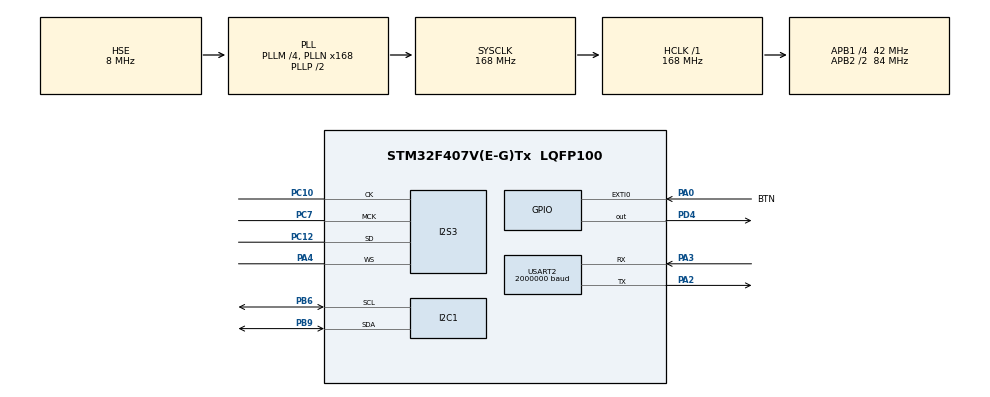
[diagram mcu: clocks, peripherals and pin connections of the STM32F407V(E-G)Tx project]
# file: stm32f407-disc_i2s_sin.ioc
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ARM.CMSIS.5.6.0.CMSISJjCORE=true
ARM.CMSIS.5.6.0.CMSISJjDSP=Library
Dma.Request0=SPI3_TX
Dma.SPI3_TX.0.Direction=DMA_MEMORY_TO_PERIPH
Dma.SPI3_TX.0.FIFOMode=DMA_FIFOMODE_DISABLE
Dma.SPI3_TX.0.Instance=DMA1_Stream5
Dma.SPI3_TX.0.MemDataAlignment=DMA_MDATAALIGN_BYTE
Dma.SPI3_TX.0.MemInc=DMA_MINC_ENABLE
Dma.SPI3_TX.0.Mode=DMA_CIRCULAR
Dma.SPI3_TX.0.PeriphDataAlignment=DMA_PDATAALIGN_BYTE
Dma.SPI3_TX.0.PeriphInc=DMA_PINC_DISABLE
Dma.SPI3_TX.0.Priority=DMA_PRIORITY_LOW
I2C1.I2C_Mode=I2C_Fast
I2S3.AudioFreq=I2S_AUDIOFREQ_96K
I2S3.ErrorAudioFreq=-2.34 %
I2S3.FullDuplexMode=I2S_FULLDUPLEXMODE_DISABLE
I2S3.Instance=SPI$Index
I2S3.RealAudioFreq=93.75 KHz
I2S3.VirtualMode=I2S_MODE_MASTER
Mcu.Family=STM32F4
Mcu.Name=STM32F407V(E-G)Tx
Mcu.Package=LQFP100
NVIC.DMA1_Stream5_IRQn=true\:0\:0\:false\:false\:true\:false\:true\:true
NVIC.PriorityGroup=NVIC_PRIORITYGROUP_4
NVIC.SPI3_IRQn=true\:0\:0\:false\:false\:true\:true\:true\:true
PA0-WKUP.GPIO_Label=BTN
PA0-WKUP.GPIO_ModeDefaultEXTI=GPIO_MODE_IT_RISING_FALLING
PA0-WKUP.Signal=GPXTI0
PA13.Mode=Trace_Asynchronous_SW
PA13.Signal=SYS_JTMS-SWDIO
PA14.Mode=Trace_Asynchronous_SW
PA14.Signal=SYS_JTCK-SWCLK
PA2.Mode=Asynchronous
PA2.Signal=USART2_TX
PA3.Mode=Asynchronous
PA3.Signal=USART2_RX
PA4.Mode=Half_Duplex_Master
PA4.Signal=I2S3_WS
PB3.Mode=Trace_Asynchronous_SW
PB3.Signal=SYS_JTDO-SWO
PB6.GPIO_Pu=GPIO_PULLUP
PB6.Mode=I2C
PB6.Signal=I2C1_SCL
PB9.GPIO_Pu=GPIO_PULLUP
PB9.Mode=I2C
PB9.Signal=I2C1_SDA
PC10.Mode=Half_Duplex_Master
PC10.Signal=I2S3_CK
PC12.Mode=Half_Duplex_Master
PC12.Signal=I2S3_SD
PC7.Mode=Master_Clock_Activated
PC7.Signal=I2S3_MCK
PD4.PinState=GPIO_PIN_SET
PD4.Signal=GPIO_Output
PH0-OSC_IN.Mode=HSE-External-Oscillator
PH0-OSC_IN.Signal=RCC_OSC_IN
PH1-OSC_OUT.Mode=HSE-External-Oscillator
PH1-OSC_OUT.Signal=RCC_OSC_OUT
ProjectManager.HeapSize=0x200
ProjectManager.StackSize=0x400
ProjectManager.TargetToolchain=STM32CubeIDE
RCC.48MHZClocksFreq_Value=84000000
RCC.AHBFreq_Value=168000000
RCC.APB1CLKDivider=RCC_HCLK_DIV4
RCC.APB1Freq_Value=42000000
RCC.APB1TimFreq_Value=84000000
RCC.APB2CLKDivider=RCC_HCLK_DIV2
RCC.APB2Freq_Value=84000000
RCC.APB2TimFreq_Value=168000000
RCC.CortexFreq_Value=168000000
RCC.HCLKFreq_Value=168000000
RCC.HSE_VALUE=8000000
RCC.HSI_VALUE=16000000
RCC.LSE_VALUE=32768
RCC.PLLM=4
RCC.PLLN=168
RCC.PLLSourceVirtual=RCC_PLLSOURCE_HSE
RCC.SYSCLKFreq_VALUE=168000000
RCC.SYSCLKSource=RCC_SYSCLKSOURCE_PLLCLK
RCC.VCOOutputFreq_Value=336000000
USART2.BaudRate=2000000
USART2.OverSampling=UART_OVERSAMPLING_8
USART2.VirtualMode=VM_ASYNC
VP_ARM.CMSIS_VS_CMSISJjCORE_5.3.0_5.6.0.Mode=CMSISJjCORE
VP_ARM.CMSIS_VS_CMSISJjDSP_1.7.0_5.6.0.Mode=CMSISJjDSP
board=custom

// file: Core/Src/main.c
/* USER CODE BEGIN Header */
/**
 ******************************************************************************
 * @file           : main.c
 * @brief          : Main program body
 ******************************************************************************
 * @attention
 *
 * Copyright (c) 2025 Lars Boegild Thomsen <lth@stm32world.com>
 * All rights reserved.
 *
 * This software is licensed under terms that can be found in the LICENSE file
 * in the root directory of this software component.
 * If no LICENSE file comes with this software, it is provided AS-IS.
 *
 ******************************************************************************
 */
/* USER CODE END Header */
#include "main.h"

/* USER CODE BEGIN Includes */
#include <stdio.h>
#include <math.h>
#include "arm_math.h"
/* USER CODE END Includes */

/* USER CODE BEGIN PD */

#define TAU 6.28318530717958647692
#define I2S_DMA_BUFFER_SAMPLES 960
#define I2S_DMA_BUFFER_SIZE 2 * 2 * I2S_DMA_BUFFER_SAMPLES // 2 full buffers L+R samples
#define SAMPLE_FREQ 96000
#define OUTPUT_MID 32768

/* USER CODE END PD */

I2C_HandleTypeDef hi2c1;

I2S_HandleTypeDef hi2s3;
DMA_HandleTypeDef hdma_spi3_tx;

UART_HandleTypeDef huart2;

/* USER CODE BEGIN PV */

const float two_pi = 2 * M_PI;

int16_t i2s_dma_buffer[I2S_DMA_BUFFER_SIZE];

//const float two_pi = 2 * M_PI;
float angle[2] = {
        0,
        0
};

float angle_change[2] = {
        100.0 * (TAU / SAMPLE_FREQ), // left
        50.0 * (TAU / SAMPLE_FREQ)  // right
};

float amplification[2] = {
        0.1,
        0.4
};

uint8_t dma_buffer_processing = 0;
uint32_t dma_overflow = 0;

uint32_t i2c_cb, i2c_hcb;

/* USER CODE END PV */

void SystemClock_Config(void);
static void MX_GPIO_Init(void);
static void MX_DMA_Init(void);
static void MX_USART2_UART_Init(void);
static void MX_I2S3_Init(void);
static void MX_I2C1_Init(void);

/* USER CODE BEGIN 0 */

// Send printf to uart1
int _write(int fd, char *ptr, int len) {
    HAL_StatusTypeDef hstatus;

    if (fd == 1 || fd == 2) {
        hstatus = HAL_UART_Transmit(&huart2, (uint8_t*) ptr, len, HAL_MAX_DELAY);
        if (hstatus == HAL_OK)
            return len;
        else
            return -1;
    }
    return -1;
}

//inline void HAL_TIM_PeriodElapsedCallback(TIM_HandleTypeDef *htim) {
//
//    if (htim->Instance == htim6.Instance) {
//        ++cb_cnt;
//    }
//
//}

void process_buffer(int16_t *buffer) {

    dma_buffer_processing = 1;

    for (int i = 0; i < 2 * I2S_DMA_BUFFER_SAMPLES; i += 2) { // Two samples left/right per step
        buffer[i] = OUTPUT_MID * amplification[0] * arm_cos_f32(angle[0]);      // Left
        buffer[i + 1] = OUTPUT_MID * amplification[1] * arm_cos_f32(angle[1]);  // Right
        angle[0] += angle_change[0];
        angle[1] += angle_change[1];
        if (angle[0] > TAU)
            angle[0] -= TAU;
        if (angle[1] > TAU)
            angle[1] -= TAU;
    }

    dma_buffer_processing = 0;

}

void HAL_I2S_TxCpltCallback(I2S_HandleTypeDef *hi2s) {
    if (dma_buffer_processing) {
        ++dma_overflow; // Still processing previous buffer
    } else {
        process_buffer(&i2s_dma_buffer[2 * I2S_DMA_BUFFER_SAMPLES]); // Second half
        ++i2c_cb;
    }
}

void HAL_I2S_TxHalfCpltCallback(I2S_HandleTypeDef *hi2s) {
    if (dma_buffer_processing) {
        ++dma_overflow; // Still processing previous buffer
    } else {
        process_buffer(&i2s_dma_buffer[0]);
        ++i2c_hcb;
    }

}

/* USER CODE END 0 */

int main(void)
{

    /* MCU Configuration--------------------------------------------------------*/

    /* Reset of all peripherals, Initializes the Flash interface and the Systick. */
    HAL_Init();

    /* Configure the system clock */
    SystemClock_Config();

    /* Initialize all configured peripherals */
    MX_GPIO_Init();
    MX_DMA_Init();
    MX_USART2_UART_Init();
    MX_I2S3_Init();
    MX_I2C1_Init();
    /* USER CODE BEGIN 2 */

    printf("\n\n\n--------\nStarting\n");

    // Go through all possible i2c addresses
    for (uint8_t i = 0; i < 128; i++) {

        if (HAL_I2C_IsDeviceReady(&hi2c1, (uint16_t) (i << 1), 3, 5) == HAL_OK) {
            // We got an ack
            printf("%2x ", i);
        } else {
            printf("-- ");
        }

        if (i > 0 && (i + 1) % 16 == 0)
            printf("\n");

    }

    printf("\n");

    HAL_I2S_Transmit_DMA(&hi2s3, (uint16_t*) &i2s_dma_buffer, 2 * I2S_DMA_BUFFER_SAMPLES);

    /* USER CODE END 2 */

    /* Infinite loop */
    /* USER CODE BEGIN WHILE */

    uint32_t loop = 0;
    uint32_t now = 0;
    uint32_t next_tick = 1000;

    while (1) {

        now = uwTick;

        if (now >= next_tick) {
            printf("Tick %lu (l=%lu ch=%lu cf=%lu)\n", now / 1000, loop, i2c_hcb, i2c_cb);
            loop = 0;
            next_tick = now + 1000;
        }

        ++loop;

        /* USER CODE END WHILE */

    }
}

void SystemClock_Config(void)
{
    RCC_OscInitTypeDef RCC_OscInitStruct = { 0 };
    RCC_ClkInitTypeDef RCC_ClkInitStruct = { 0 };

    /** Configure the main internal regulator output voltage
     */
    __HAL_RCC_PWR_CLK_ENABLE();
    __HAL_PWR_VOLTAGESCALING_CONFIG(PWR_REGULATOR_VOLTAGE_SCALE1);

    /** Initializes the RCC Oscillators according to the specified parameters
     * in the RCC_OscInitTypeDef structure.
     */
    RCC_OscInitStruct.OscillatorType = RCC_OSCILLATORTYPE_HSE;
    RCC_OscInitStruct.HSEState = RCC_HSE_ON;
    RCC_OscInitStruct.PLL.PLLState = RCC_PLL_ON;
    RCC_OscInitStruct.PLL.PLLSource = RCC_PLLSOURCE_HSE;
    RCC_OscInitStruct.PLL.PLLM = 4;
    RCC_OscInitStruct.PLL.PLLN = 168;
    RCC_OscInitStruct.PLL.PLLP = RCC_PLLP_DIV2;
    RCC_OscInitStruct.PLL.PLLQ = 4;
    if (HAL_RCC_OscConfig(&RCC_OscInitStruct) != HAL_OK)
            {
        Error_Handler();
    }

    /** Initializes the CPU, AHB and APB buses clocks
     */
    RCC_ClkInitStruct.ClockType = RCC_CLOCKTYPE_HCLK | RCC_CLOCKTYPE_SYSCLK
            | RCC_CLOCKTYPE_PCLK1 | RCC_CLOCKTYPE_PCLK2;
    RCC_ClkInitStruct.SYSCLKSource = RCC_SYSCLKSOURCE_PLLCLK;
    RCC_ClkInitStruct.AHBCLKDivider = RCC_SYSCLK_DIV1;
    RCC_ClkInitStruct.APB1CLKDivider = RCC_HCLK_DIV4;
    RCC_ClkInitStruct.APB2CLKDivider = RCC_HCLK_DIV2;

    if (HAL_RCC_ClockConfig(&RCC_ClkInitStruct, FLASH_LATENCY_5) != HAL_OK)
            {
        Error_Handler();
    }
}

static void MX_I2C1_Init(void)
{

    hi2c1.Instance = I2C1;
    hi2c1.Init.ClockSpeed = 400000;
    hi2c1.Init.DutyCycle = I2C_DUTYCYCLE_2;
    hi2c1.Init.OwnAddress1 = 0;
    hi2c1.Init.AddressingMode = I2C_ADDRESSINGMODE_7BIT;
    hi2c1.Init.DualAddressMode = I2C_DUALADDRESS_DISABLE;
    hi2c1.Init.OwnAddress2 = 0;
    hi2c1.Init.GeneralCallMode = I2C_GENERALCALL_DISABLE;
    hi2c1.Init.NoStretchMode = I2C_NOSTRETCH_DISABLE;
    if (HAL_I2C_Init(&hi2c1) != HAL_OK)
            {
        Error_Handler();
    }

}

static void MX_I2S3_Init(void)
{

    hi2s3.Instance = SPI3;
    hi2s3.Init.Mode = I2S_MODE_MASTER_TX;
    hi2s3.Init.Standard = I2S_STANDARD_PHILIPS;
    hi2s3.Init.DataFormat = I2S_DATAFORMAT_16B;
    hi2s3.Init.MCLKOutput = I2S_MCLKOUTPUT_ENABLE;
    hi2s3.Init.AudioFreq = I2S_AUDIOFREQ_96K;
    hi2s3.Init.CPOL = I2S_CPOL_LOW;
    hi2s3.Init.ClockSource = I2S_CLOCK_PLL;
    hi2s3.Init.FullDuplexMode = I2S_FULLDUPLEXMODE_DISABLE;
    if (HAL_I2S_Init(&hi2s3) != HAL_OK)
            {
        Error_Handler();
    }

}

static void MX_USART2_UART_Init(void)
{

    huart2.Instance = USART2;
    huart2.Init.BaudRate = 2000000;
    huart2.Init.WordLength = UART_WORDLENGTH_8B;
    huart2.Init.StopBits = UART_STOPBITS_1;
    huart2.Init.Parity = UART_PARITY_NONE;
    huart2.Init.Mode = UART_MODE_TX_RX;
    huart2.Init.HwFlowCtl = UART_HWCONTROL_NONE;
    huart2.Init.OverSampling = UART_OVERSAMPLING_8;
    if (HAL_UART_Init(&huart2) != HAL_OK)
            {
        Error_Handler();
    }

}

static void MX_DMA_Init(void)
{

    /* DMA controller clock enable */
    __HAL_RCC_DMA1_CLK_ENABLE();

    /* DMA interrupt init */
    /* DMA1_Stream5_IRQn interrupt configuration */
    HAL_NVIC_SetPriority(DMA1_Stream5_IRQn, 0, 0);
    HAL_NVIC_EnableIRQ(DMA1_Stream5_IRQn);

}

static void MX_GPIO_Init(void)
{
    GPIO_InitTypeDef GPIO_InitStruct = { 0 };

    /* GPIO Ports Clock Enable */
    __HAL_RCC_GPIOH_CLK_ENABLE();
    __HAL_RCC_GPIOA_CLK_ENABLE();
    __HAL_RCC_GPIOC_CLK_ENABLE();
    __HAL_RCC_GPIOD_CLK_ENABLE();
    __HAL_RCC_GPIOB_CLK_ENABLE();

    /*Configure GPIO pin Output Level */
    HAL_GPIO_WritePin(GPIOD, GPIO_PIN_4, GPIO_PIN_SET);

    /*Configure GPIO pin : BTN_Pin */
    GPIO_InitStruct.Pin = BTN_Pin;
    GPIO_InitStruct.Mode = GPIO_MODE_IT_RISING_FALLING;
    GPIO_InitStruct.Pull = GPIO_NOPULL;
    HAL_GPIO_Init(BTN_GPIO_Port, &GPIO_InitStruct);

    /*Configure GPIO pin : PD4 */
    GPIO_InitStruct.Pin = GPIO_PIN_4;
    GPIO_InitStruct.Mode = GPIO_MODE_OUTPUT_PP;
    GPIO_InitStruct.Pull = GPIO_NOPULL;
    GPIO_InitStruct.Speed = GPIO_SPEED_FREQ_LOW;
    HAL_GPIO_Init(GPIOD, &GPIO_InitStruct);

}

void Error_Handler(void)
{
    __disable_irq();
    while (1)
    {
    }
}
